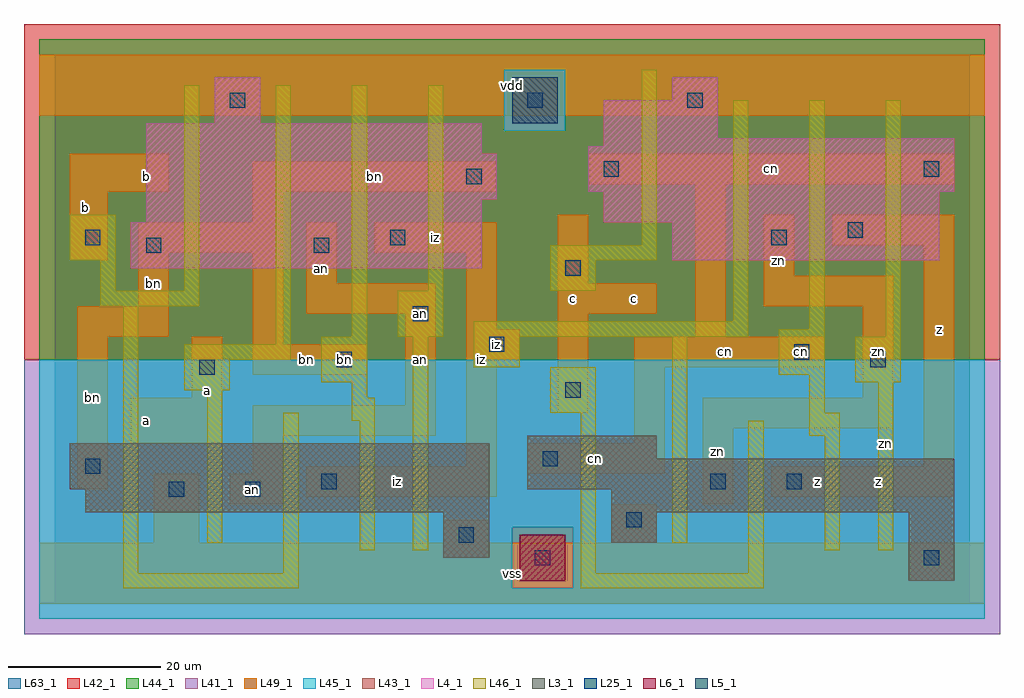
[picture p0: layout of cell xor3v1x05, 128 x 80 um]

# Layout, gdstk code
import gdstk
lib = gdstk.Library(unit=1e-6, precision=1e-09)
def R(c, l, rs):  # rectangles x0, y0, x1, y1
    for r in rs: c.add(gdstk.rectangle(r[:2], r[2:], *l))
L3_1 = (3, 1)
L4_1 = (4, 1)
L5_1 = (5, 1)
L6_1 = (6, 1)
L25_1 = (25, 1)
L41_1 = (41, 1)
L42_1 = (42, 1)
L43_1 = (43, 1)
L44_1 = (44, 1)
L45_1 = (45, 1)
L46_1 = (46, 1)
L49_1 = (49, 1)
L63_1 = (63, 1)

xor3v1x05 = lib.new_cell('xor3v1x05')
R(xor3v1x05, L3_1, [(112,3,118,12), (51,6,57,12), (73,8,79,12), (4,12,57,15), (73,12,118,15), (2,15,57,21), (62,15,118,19), (62,19,79,22)])
R(xor3v1x05, L4_1, [(10,44,56,50), (81,45,116,50), (12,50,56,53), (72,50,116,54), (12,53,58,59), (70,54,118,60), (12,59,56,63), (72,60,118,61), (72,61,87,66), (21,63,27,69), (81,66,87,69)])
R(xor3v1x05, L5_1, [(60,63,66,69)])
R(xor3v1x05, L6_1, [(61,3,67,9), (61,3,67,9)])
R(xor3v1x05, L25_1, [(63,5,65,7), (114,5,116,7), (53,8,55,10), (75,10,77,12), (15,14,17,16), (25,14,27,16), (35,15,37,17), (86,15,88,17), (96,15,98,17), (4,17,6,19), (64,18,66,20), (67,27,69,29), (19,30,21,32), (37,31,39,33), (107,31,109,33), (97,32,99,34), (57,33,59,35), (47,37,49,39), (67,43,69,45), (12,46,14,48), (34,46,36,48), (4,47,6,49), (44,47,46,49), (94,47,96,49), (104,48,106,50), (54,55,56,57), (72,56,74,58), (114,56,116,58), (23,65,25,67), (62,65,64,67), (83,65,85,67)])
R(xor3v1x05, L41_1, [(-4,-4,124,32)])
R(xor3v1x05, L42_1, [(-4,32,124,76)])
R(xor3v1x05, L43_1, [(61,3,67,9), (112,3,118,12), (51,6,57,12), (73,8,79,12), (4,12,57,15), (73,12,118,15), (2,15,57,21), (62,15,118,19), (62,19,79,22), (10,44,56,50), (81,45,116,50), (12,50,56,53), (72,50,116,54), (12,53,58,59), (70,54,118,60), (12,59,56,63), (72,60,118,61), (72,61,87,66), (21,63,27,69), (60,63,66,69), (81,66,87,69)])
R(xor3v1x05, L44_1, [(60,2,68,10), (-2,32,122,62), (-2,62,59,70), (67,62,122,70), (-2,70,122,74)])
R(xor3v1x05, L45_1, [(-2,-2,122,2), (-2,2,60,10), (68,2,122,10), (-2,10,122,32), (59,62,67,70)])
R(xor3v1x05, L46_1, [(9,2,32,4), (69,2,93,4), (9,4,11,39), (30,4,32,25), (69,4,71,25), (91,4,93,24), (40,7,42,24), (47,7,49,35), (101,7,103,22), (108,7,110,29), (20,8,22,28), (81,8,83,35), (99,22,103,25), (39,24,42,27), (65,25,71,31), (99,25,101,30), (39,27,41,29), (17,28,23,32), (35,29,41,35), (105,29,111,35), (95,30,101,36), (55,31,61,35), (17,32,31,34), (29,34,31,68), (39,35,41,68), (45,35,51,41), (55,35,91,37), (109,35,111,66), (99,36,101,66), (89,37,91,66), (6,39,19,41), (6,41,8,45), (17,41,19,68), (49,41,51,68), (65,41,71,45), (2,45,8,51), (65,45,79,47), (77,47,79,70)])
R(xor3v1x05, L49_1, [(-2,0,122,8), (13,8,19,17), (51,8,57,11), (73,8,79,13), (23,13,30,17), (85,13,89,23), (33,14,58,18), (94,14,118,18), (3,15,7,35), (26,17,30,22), (62,17,80,21), (54,18,58,32), (114,18,118,47), (10,21,22,27), (76,21,80,31), (26,22,50,26), (85,23,110,27), (66,25,70,38), (46,26,50,38), (18,27,22,35), (106,27,110,39), (26,30,41,34), (76,31,101,35), (54,32,61,36), (26,34,30,46), (3,35,15,39), (84,35,88,55), (54,36,58,46), (33,38,50,42), (66,38,79,42), (11,39,15,46), (93,39,110,43), (33,42,37,50), (66,42,70,51), (93,43,97,51), (2,45,7,54), (11,46,30,50), (42,46,58,50), (102,47,118,51), (26,50,30,54), (2,54,15,59), (26,54,58,58), (70,55,118,59), (-2,64,122,72)])
R(xor3v1x05, L63_1, [(0,0,120,72)])
xor3v1x05.add(gdstk.Label('bn', (38,32), layer=49, texttype=1))
xor3v1x05.add(gdstk.Label('an', (48,38), layer=49, texttype=1))
xor3v1x05.add(gdstk.Label('iz', (58,34), layer=49, texttype=1))
xor3v1x05.add(gdstk.Label('zn', (109,21), layer=46, texttype=1))
xor3v1x05.add(gdstk.Label('cn', (98,33), layer=49, texttype=1))
xor3v1x05.add(gdstk.Label('a', (12,24), layer=49, texttype=1))
xor3v1x05.add(gdstk.Label('bn', (5,27), layer=49, texttype=1))
xor3v1x05.add(gdstk.Label('bn', (13,42), layer=49, texttype=1))
xor3v1x05.add(gdstk.Label('b', (4,52), layer=49, texttype=1))
xor3v1x05.add(gdstk.Label('b', (12,56), layer=49, texttype=1))
xor3v1x05.add(gdstk.Label('an', (26,15), layer=49, texttype=1))
xor3v1x05.add(gdstk.Label('bn', (33,32), layer=49, texttype=1))
xor3v1x05.add(gdstk.Label('a', (20,28), layer=49, texttype=1))
xor3v1x05.add(gdstk.Label('an', (35,44), layer=49, texttype=1))
xor3v1x05.add(gdstk.Label('vss', (60,4), layer=49, texttype=1))
xor3v1x05.add(gdstk.Label('iz', (45,16), layer=49, texttype=1))
xor3v1x05.add(gdstk.Label('an', (48,32), layer=49, texttype=1))
xor3v1x05.add(gdstk.Label('c', (68,40), layer=49, texttype=1))
xor3v1x05.add(gdstk.Label('iz', (56,32), layer=49, texttype=1))
xor3v1x05.add(gdstk.Label('iz', (50,48), layer=49, texttype=1))
xor3v1x05.add(gdstk.Label('bn', (42,56), layer=49, texttype=1))
xor3v1x05.add(gdstk.Label('vdd', (60,68), layer=49, texttype=1))
xor3v1x05.add(gdstk.Label('zn', (87,20), layer=49, texttype=1))
xor3v1x05.add(gdstk.Label('cn', (71,19), layer=49, texttype=1))
xor3v1x05.add(gdstk.Label('c', (76,40), layer=49, texttype=1))
xor3v1x05.add(gdstk.Label('z', (108,16), layer=49, texttype=1))
xor3v1x05.add(gdstk.Label('z', (100,16), layer=49, texttype=1))
xor3v1x05.add(gdstk.Label('cn', (88,33), layer=49, texttype=1))
xor3v1x05.add(gdstk.Label('z', (116,36), layer=49, texttype=1))
xor3v1x05.add(gdstk.Label('zn', (95,45), layer=49, texttype=1))
xor3v1x05.add(gdstk.Label('zn', (108,33), layer=49, texttype=1))
xor3v1x05.add(gdstk.Label('cn', (94,57), layer=49, texttype=1))

lib.write_gds('xor3v1x05.gds')
